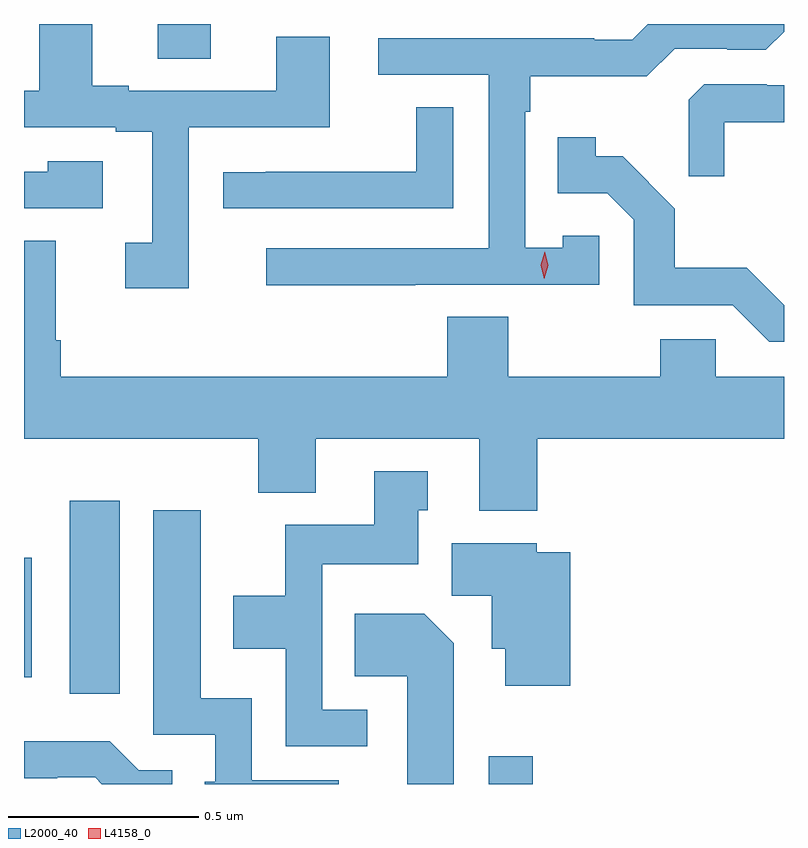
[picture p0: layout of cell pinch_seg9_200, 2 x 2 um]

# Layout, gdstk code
import gdstk
lib = gdstk.Library(unit=1e-6, precision=1e-09)
def R(c, l, rs):  # rectangles x0, y0, x1, y1
    for r in rs: c.add(gdstk.rectangle(r[:2], r[2:], *l))
def P(c, l, *ps):  # polygons
    for p in ps: c.add(gdstk.Polygon(p, *l))
L2000_40 = (2000, 40)
L4158_0 = (4158, 0)

pinch_seg9_200 = lib.new_cell('pinch_seg9_200')
R(pinch_seg9_200, L2000_40, [(530.322,1228.812,530.438,1228.885), (529.22,1229.049,529.351,1229.557), (529.099,1229.093,529.12,1229.407), (529.451,1230.721,529.591,1230.812)])
P(pinch_seg9_200, L2000_40, [(530.129,1230.126),(530.613,1230.126),(530.613,1230.255),(530.517,1230.255),(530.517,1230.223),(530.418,1230.223),(530.418,1230.581),(530.431,1230.581),(530.431,1230.674),(530.738,1230.674),(530.811,1230.747),(530.95,1230.747),(530.95,1230.744),(531.051,1230.744),(531.099,1230.792),(531.099,1230.812),(530.741,1230.812),(530.7,1230.771),(530.6,1230.771),(530.6,1230.774),(530.031,1230.774),(530.031,1230.678),(530.322,1230.678),(530.322,1230.222),(529.737,1230.222),(529.737,1230.124),(530.129,1230.124)],
  [(529.533,1230.54),(529.903,1230.54),(529.903,1230.779),(529.763,1230.779),(529.763,1230.636),(529.375,1230.636),(529.375,1230.649),(529.279,1230.649),(529.279,1230.812),(529.139,1230.812),(529.139,1230.636),(529.099,1230.636),(529.099,1230.54),(529.34,1230.54),(529.34,1230.528),(529.436,1230.528),(529.436,1230.237),(529.365,1230.237),(529.365,1230.117),(529.533,1230.117)],
  [(530.942,1230.554),(531.099,1230.554),(531.099,1230.651),(531.054,1230.651),(531.054,1230.654),(530.889,1230.654),(530.848,1230.613),(530.848,1230.411),(530.942,1230.411)],
  [(530.229,1230.593),(530.131,1230.593),(530.131,1230.423),(529.735,1230.423),(529.735,1230.422),(529.623,1230.422),(529.623,1230.327),(530.229,1230.327)],
  [(531.099,1230.072),(531.001,1230.171),(530.812,1230.171),(530.812,1230.326),(530.674,1230.464),(530.604,1230.464),(530.604,1230.514),(530.503,1230.514),(530.503,1230.366),(530.634,1230.366),(530.703,1230.297),(530.703,1230.072),(530.964,1230.072),(531.06,1229.976),(531.099,1229.976)],
  [(529.306,1230.451),(529.161,1230.451),(529.161,1230.423),(529.099,1230.423),(529.099,1230.327),(529.306,1230.327)],
  [(530.45,1229.72),(531.099,1229.72),(531.099,1229.884),(530.919,1229.884),(530.919,1229.982),(530.773,1229.982),(530.773,1229.884),(530.373,1229.884),(530.373,1230.041),(530.213,1230.041),(530.213,1229.884),(529.196,1229.884),(529.196,1229.98),(529.183,1229.98),(529.183,1230.241),(529.099,1230.241),(529.099,1229.72),(529.715,1229.72),(529.715,1229.579),(529.867,1229.579),(529.867,1229.72),(530.297,1229.72),(530.297,1229.531),(530.45,1229.531)],
  [(530.002,1229.007),(529.884,1229.007),(529.884,1229.39),(530.137,1229.39),(530.137,1229.532),(530.161,1229.532),(530.161,1229.635),(530.021,1229.635),(530.021,1229.494),(529.786,1229.494),(529.786,1229.308),(529.649,1229.308),(529.649,1229.168),(529.788,1229.168),(529.788,1228.911),(530.002,1228.911)],
  [(529.927,1228.822),(529.698,1228.822),(529.698,1229.038),(529.564,1229.038),(529.564,1229.533),(529.439,1229.533),(529.439,1228.941),(529.602,1228.941),(529.602,1228.818),(529.574,1228.818),(529.574,1228.812),(529.927,1228.812)],
  [(530.537,1229.422),(530.448,1229.422),(530.448,1229.446),(530.225,1229.446),(530.225,1229.308),(530.33,1229.308),(530.33,1229.168),(530.366,1229.168),(530.366,1229.07),(530.537,1229.07)],
  [(530.23,1229.182),(530.152,1229.26),(529.969,1229.26),(529.969,1229.096),(530.108,1229.096),(530.108,1228.812),(530.23,1228.812)],
  [(529.489,1228.848),(529.401,1228.848),(529.325,1228.924),(529.099,1228.924),(529.099,1228.827),(529.187,1228.827),(529.187,1228.83),(529.286,1228.83),(529.304,1228.812),(529.489,1228.812)])
P(pinch_seg9_200, L4158_0, [(530.468,1230.141),(530.468,1230.141),(530.459,1230.177),(530.469,1230.213),(530.469,1230.213),(530.469,1230.213),(530.479,1230.177),(530.468,1230.141)])

lib.write_gds('pinch_seg9_200.gds')
